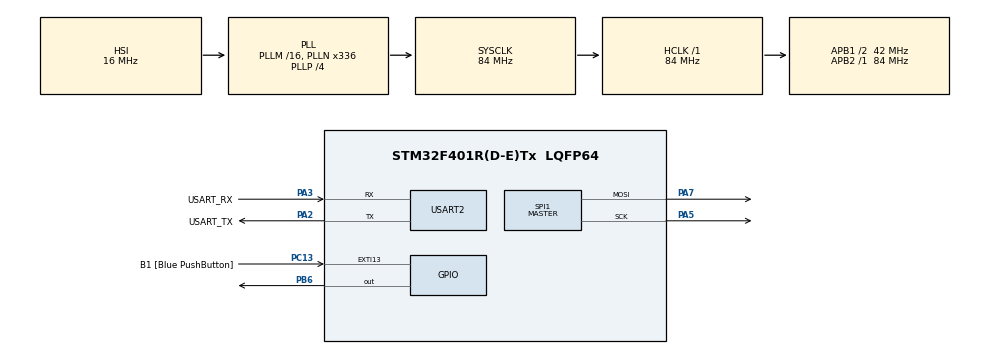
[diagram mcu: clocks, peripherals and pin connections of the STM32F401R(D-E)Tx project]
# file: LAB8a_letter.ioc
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Mcu.Family=STM32F4
Mcu.Name=STM32F401R(D-E)Tx
Mcu.Package=LQFP64
NVIC.PriorityGroup=NVIC_PRIORITYGROUP_0
NVIC.TIM1_UP_TIM10_IRQn=true\:0\:0\:false\:false\:true\:true\:true
PA13.GPIO_Label=TMS
PA13.Mode=Serial_Wire
PA13.Signal=SYS_JTMS-SWDIO
PA14.GPIO_Label=TCK
PA14.Mode=Serial_Wire
PA14.Signal=SYS_JTCK-SWCLK
PA2.GPIO_Label=USART_TX
PA2.GPIO_Mode=GPIO_MODE_AF_PP
PA2.GPIO_PuPd=GPIO_NOPULL
PA2.GPIO_Speed=GPIO_SPEED_FREQ_LOW
PA2.Mode=Asynchronous
PA2.Signal=USART2_TX
PA3.GPIO_Label=USART_RX
PA3.GPIO_Mode=GPIO_MODE_AF_PP
PA3.GPIO_PuPd=GPIO_NOPULL
PA3.GPIO_Speed=GPIO_SPEED_FREQ_LOW
PA3.Mode=Asynchronous
PA3.Signal=USART2_RX
PA5.Mode=TX_Only_Simplex_Unidirect_Master
PA5.Signal=SPI1_SCK
PA7.Mode=TX_Only_Simplex_Unidirect_Master
PA7.Signal=SPI1_MOSI
PB3.GPIO_Label=SWO
PB3.Signal=SYS_JTDO-SWO
PB6.Signal=GPIO_Output
PC13-ANTI_TAMP.GPIO_Label=B1 [Blue PushButton]
PC13-ANTI_TAMP.GPIO_ModeDefaultEXTI=GPIO_MODE_IT_FALLING
PC13-ANTI_TAMP.GPIO_PuPd=GPIO_NOPULL
PC13-ANTI_TAMP.Signal=GPXTI13
PC14-OSC32_IN.Mode=LSE-External-Oscillator
PC14-OSC32_IN.Signal=RCC_OSC32_IN
PC15-OSC32_OUT.Mode=LSE-External-Oscillator
PC15-OSC32_OUT.Signal=RCC_OSC32_OUT
PH0\ -\ OSC_IN.Mode=HSE-External-Clock-Source
PH0\ -\ OSC_IN.Signal=RCC_OSC_IN
PH1\ -\ OSC_OUT.Mode=HSE-External-Clock-Source
PH1\ -\ OSC_OUT.Signal=RCC_OSC_OUT
ProjectManager.HeapSize=0x200
ProjectManager.StackSize=0x400
ProjectManager.TargetToolchain=STM32CubeIDE
RCC.48MHZClocksFreq_Value=48000000
RCC.AHBFreq_Value=84000000
RCC.APB1CLKDivider=RCC_HCLK_DIV2
RCC.APB1Freq_Value=42000000
RCC.APB1TimFreq_Value=84000000
RCC.APB2Freq_Value=84000000
RCC.APB2TimFreq_Value=84000000
RCC.CortexFreq_Value=84000000
RCC.HCLKFreq_Value=84000000
RCC.HSE_VALUE=8000000
RCC.HSI_VALUE=16000000
RCC.PLLN=336
RCC.PLLP=RCC_PLLP_DIV4
RCC.PLLQ=7
RCC.SYSCLKFreq_VALUE=84000000
RCC.SYSCLKSource=RCC_SYSCLKSOURCE_PLLCLK
RCC.VCOOutputFreq_Value=336000000
SPI1.Direction=SPI_DIRECTION_2LINES
SPI1.Mode=SPI_MODE_MASTER
SPI1.VirtualType=VM_MASTER
TIM1.AutoReloadPreload=TIM_AUTORELOAD_PRELOAD_ENABLE
TIM1.Period=21*4-1
TIM1.Prescaler=4000-1
USART2.VirtualMode=VM_ASYNC
VP_TIM1_VS_ClockSourceINT.Mode=Internal
board=NUCLEO-F401RE

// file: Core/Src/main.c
/* USER CODE BEGIN Header */
/**
  ******************************************************************************
  * @file           : main.c
  * @brief          : Main program body
  ******************************************************************************
  * @attention
  *
  * <h2><center>&copy; Copyright (c) 2021 STMicroelectronics.
  * All rights reserved.</center></h2>
  *
  * This software component is licensed by ST under BSD 3-Clause license,
  * the "License"; You may not use this file except in compliance with the
  * License. You may obtain a copy of the License at:
  *                        opensource.org/licenses/BSD-3-Clause
  *
  ******************************************************************************
  */
/* USER CODE END Header */
#include "main.h"

/* USER CODE BEGIN PTD */
typedef uint8_t letter_t[5][2];

/* USER CODE END PTD */

/* USER CODE BEGIN PM */
#define GET_LETTER_BYTES(col1,col2,col3,col4,col5) {{col1<<1,16},{col2<<1,8},{col3<<1,4},{col4<<1,2},{col5<<1,1}}
/* USER CODE END PM */

SPI_HandleTypeDef hspi1;

TIM_HandleTypeDef htim1;

UART_HandleTypeDef huart2;

/* USER CODE BEGIN PV */
letter_t letterA =  GET_LETTER_BYTES(31,36,68,36,31);

/* USER CODE END PV */

void SystemClock_Config(void);
static void MX_GPIO_Init(void);
static void MX_USART2_UART_Init(void);
static void MX_SPI1_Init(void);
static void MX_TIM1_Init(void);

/* USER CODE BEGIN 0 */
// anonymous struct
volatile struct {
	uint8_t index;
	letter_t letter;
} display;

void HAL_TIM_PeriodElapsedCallback(TIM_HandleTypeDef *htim)
{
  if(htim->Instance == htim1.Instance){
	  HAL_GPIO_WritePin(GPIOB,GPIO_PIN_6, GPIO_PIN_SET);
	  if(++display.index > 4)
		 display.index = 0;
	  HAL_GPIO_WritePin(GPIOB,GPIO_PIN_6, GPIO_PIN_RESET);
	  HAL_SPI_Transmit(&hspi1, display.letter[display.index], 2,100);
  }
}
/* USER CODE END 0 */

int main(void)
{

  /* MCU Configuration--------------------------------------------------------*/

  /* Reset of all peripherals, Initializes the Flash interface and the Systick. */
  HAL_Init();

  /* Configure the system clock */
  SystemClock_Config();

  /* Initialize all configured peripherals */
  MX_GPIO_Init();
  MX_USART2_UART_Init();
  MX_SPI1_Init();
  MX_TIM1_Init();
  /* USER CODE BEGIN 2 */
  memcpy(display.letter, letterA, sizeof letterA);
  HAL_TIM_Base_Start_IT(&htim1);
  /* USER CODE END 2 */

  /* Infinite loop */
  while (1)
  {

  }
}

void SystemClock_Config(void)
{
  RCC_OscInitTypeDef RCC_OscInitStruct = {0};
  RCC_ClkInitTypeDef RCC_ClkInitStruct = {0};

  /** Configure the main internal regulator output voltage
  */
  __HAL_RCC_PWR_CLK_ENABLE();
  __HAL_PWR_VOLTAGESCALING_CONFIG(PWR_REGULATOR_VOLTAGE_SCALE2);
  /** Initializes the RCC Oscillators according to the specified parameters
  * in the RCC_OscInitTypeDef structure.
  */
  RCC_OscInitStruct.OscillatorType = RCC_OSCILLATORTYPE_HSI;
  RCC_OscInitStruct.HSIState = RCC_HSI_ON;
  RCC_OscInitStruct.HSICalibrationValue = RCC_HSICALIBRATION_DEFAULT;
  RCC_OscInitStruct.PLL.PLLState = RCC_PLL_ON;
  RCC_OscInitStruct.PLL.PLLSource = RCC_PLLSOURCE_HSI;
  RCC_OscInitStruct.PLL.PLLM = 16;
  RCC_OscInitStruct.PLL.PLLN = 336;
  RCC_OscInitStruct.PLL.PLLP = RCC_PLLP_DIV4;
  RCC_OscInitStruct.PLL.PLLQ = 7;
  if (HAL_RCC_OscConfig(&RCC_OscInitStruct) != HAL_OK)
  {
    Error_Handler();
  }
  /** Initializes the CPU, AHB and APB buses clocks
  */
  RCC_ClkInitStruct.ClockType = RCC_CLOCKTYPE_HCLK|RCC_CLOCKTYPE_SYSCLK
                              |RCC_CLOCKTYPE_PCLK1|RCC_CLOCKTYPE_PCLK2;
  RCC_ClkInitStruct.SYSCLKSource = RCC_SYSCLKSOURCE_PLLCLK;
  RCC_ClkInitStruct.AHBCLKDivider = RCC_SYSCLK_DIV1;
  RCC_ClkInitStruct.APB1CLKDivider = RCC_HCLK_DIV2;
  RCC_ClkInitStruct.APB2CLKDivider = RCC_HCLK_DIV1;

  if (HAL_RCC_ClockConfig(&RCC_ClkInitStruct, FLASH_LATENCY_2) != HAL_OK)
  {
    Error_Handler();
  }
}

static void MX_SPI1_Init(void)
{

  /* SPI1 parameter configuration*/
  hspi1.Instance = SPI1;
  hspi1.Init.Mode = SPI_MODE_MASTER;
  hspi1.Init.Direction = SPI_DIRECTION_2LINES;
  hspi1.Init.DataSize = SPI_DATASIZE_8BIT;
  hspi1.Init.CLKPolarity = SPI_POLARITY_LOW;
  hspi1.Init.CLKPhase = SPI_PHASE_1EDGE;
  hspi1.Init.NSS = SPI_NSS_SOFT;
  hspi1.Init.BaudRatePrescaler = SPI_BAUDRATEPRESCALER_2;
  hspi1.Init.FirstBit = SPI_FIRSTBIT_MSB;
  hspi1.Init.TIMode = SPI_TIMODE_DISABLE;
  hspi1.Init.CRCCalculation = SPI_CRCCALCULATION_DISABLE;
  hspi1.Init.CRCPolynomial = 10;
  if (HAL_SPI_Init(&hspi1) != HAL_OK)
  {
    Error_Handler();
  }

}

static void MX_TIM1_Init(void)
{

  TIM_ClockConfigTypeDef sClockSourceConfig = {0};
  TIM_MasterConfigTypeDef sMasterConfig = {0};

  htim1.Instance = TIM1;
  htim1.Init.Prescaler = 4000-1;
  htim1.Init.CounterMode = TIM_COUNTERMODE_UP;
  htim1.Init.Period = 21*4-1;
  htim1.Init.ClockDivision = TIM_CLOCKDIVISION_DIV1;
  htim1.Init.RepetitionCounter = 0;
  htim1.Init.AutoReloadPreload = TIM_AUTORELOAD_PRELOAD_ENABLE;
  if (HAL_TIM_Base_Init(&htim1) != HAL_OK)
  {
    Error_Handler();
  }
  sClockSourceConfig.ClockSource = TIM_CLOCKSOURCE_INTERNAL;
  if (HAL_TIM_ConfigClockSource(&htim1, &sClockSourceConfig) != HAL_OK)
  {
    Error_Handler();
  }
  sMasterConfig.MasterOutputTrigger = TIM_TRGO_RESET;
  sMasterConfig.MasterSlaveMode = TIM_MASTERSLAVEMODE_DISABLE;
  if (HAL_TIMEx_MasterConfigSynchronization(&htim1, &sMasterConfig) != HAL_OK)
  {
    Error_Handler();
  }

}

static void MX_USART2_UART_Init(void)
{

  huart2.Instance = USART2;
  huart2.Init.BaudRate = 115200;
  huart2.Init.WordLength = UART_WORDLENGTH_8B;
  huart2.Init.StopBits = UART_STOPBITS_1;
  huart2.Init.Parity = UART_PARITY_NONE;
  huart2.Init.Mode = UART_MODE_TX_RX;
  huart2.Init.HwFlowCtl = UART_HWCONTROL_NONE;
  huart2.Init.OverSampling = UART_OVERSAMPLING_16;
  if (HAL_UART_Init(&huart2) != HAL_OK)
  {
    Error_Handler();
  }

}

static void MX_GPIO_Init(void)
{
  GPIO_InitTypeDef GPIO_InitStruct = {0};

  /* GPIO Ports Clock Enable */
  __HAL_RCC_GPIOC_CLK_ENABLE();
  __HAL_RCC_GPIOH_CLK_ENABLE();
  __HAL_RCC_GPIOA_CLK_ENABLE();
  __HAL_RCC_GPIOB_CLK_ENABLE();

  /*Configure GPIO pin Output Level */
  HAL_GPIO_WritePin(GPIOB, GPIO_PIN_6, GPIO_PIN_RESET);

  /*Configure GPIO pin : B1_Pin */
  GPIO_InitStruct.Pin = B1_Pin;
  GPIO_InitStruct.Mode = GPIO_MODE_IT_FALLING;
  GPIO_InitStruct.Pull = GPIO_NOPULL;
  HAL_GPIO_Init(B1_GPIO_Port, &GPIO_InitStruct);

  /*Configure GPIO pin : PB6 */
  GPIO_InitStruct.Pin = GPIO_PIN_6;
  GPIO_InitStruct.Mode = GPIO_MODE_OUTPUT_PP;
  GPIO_InitStruct.Pull = GPIO_NOPULL;
  GPIO_InitStruct.Speed = GPIO_SPEED_FREQ_LOW;
  HAL_GPIO_Init(GPIOB, &GPIO_InitStruct);

}

void Error_Handler(void)
{
  __disable_irq();
  while (1)
  {
  }
}

/************************ (C) COPYRIGHT STMicroelectronics *****END OF FILE****/
